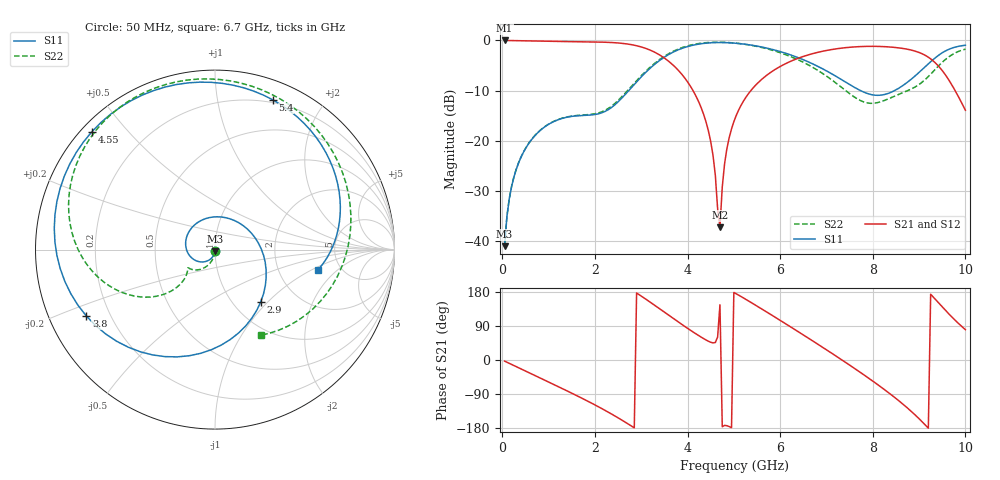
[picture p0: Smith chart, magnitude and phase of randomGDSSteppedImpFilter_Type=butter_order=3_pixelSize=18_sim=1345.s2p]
! freq	dB(S11)	phase(S11)	dB(S12)	phase(S12)
!  dB(S21)	phase(S21)	dB(S22)	phase(S22)
!S-par simulation data
#  GHz  S  DB  R 50
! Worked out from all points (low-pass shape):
!   200 points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, 50 MHz to 10 GHz, reference 50 ohm
!   highest |S21| = -0.01 dB at 50 MHz (marker M1); lowest = -37.2 dB at 4.7 GHz (marker M2)
!   |S21| within 3 dB of the highest: start of sweep to 3.419 GHz; 6.561 GHz to 9.14 GHz (2.579 GHz wide, 32.9 % of centre)
!   lowest |S11| = -40.9 dB at 50 MHz (marker M3), VSWR 1.02, Z = 50 - j0.897 ohm
!   |S11| at or under -10 dB: start of sweep to 2.728 GHz; 7.74 GHz to 8.466 GHz (726.1 MHz wide, 8.96 % of centre)
!   |S22| runs from -40.9 to -0.4 dB; largest |S21 - S12| = 0
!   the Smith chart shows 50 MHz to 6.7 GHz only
!   S11 on the Smith chart (normalised r, x): 50 MHz: 1.00, -0.02; 2.9 GHz: 1.33, -0.91; 3.8 GHz: 0.11, -0.24; 4.55 GHz: 0.03, +0.40; 5.4 GHz: 0.17, +1.44; 6.7 GHz: 3.40, -1.16
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0.05  -40.93 -92.1  -0.01 -3.0  -0.01 -3.0  -40.91 -90.4
0.2  -29.11 -104.8  -0.03 -11.7  -0.03 -11.7  -29.08 -98.2
0.5  -21.53 -127.9  -0.07 -29.1  -0.07 -29.1  -21.49 -111.1
1.75  -14.92 119.5  -0.27 -102.7  -0.27 -102.7  -14.83 -146.0
2.35  -13.40 32.2  -0.41 -141.9  -0.41 -141.9  -13.14 -137.6
2.9  -8.24 -48.8  -1.05 176.9  -1.05 176.9  -8.00 -140.1
3.4  -3.96 -109.4  -2.90 134.9  -2.90 134.9  -3.78 -164.0
3.8  -1.86 -152.8  -5.94 100.4  -5.94 100.4  -1.72 169.8
4.15  -0.88 172.5  -10.51 71.5  -10.51 71.5  -0.77 145.3
4.55  -0.45 136.3  -22.85 45.1  -22.85 45.1  -0.37 117.1
4.7  -0.42 123.5  -37.15 145.7  -37.15 145.7  -0.35 106.4
4.8  -0.43 115.2  -24.53 -172.5  -24.53 -172.5  -0.38 99.3
5.05  -0.57 95.3  -14.97 174.9  -14.97 174.9  -0.55 81.2
5.4  -0.97 68.9  -9.62 149.7  -9.62 149.7  -1.01 54.9
6  -2.21 28.1  -5.19 104.7  -5.19 104.7  -2.44 5.7
6.7  -4.65 -11.0  -2.63 50.6  -2.63 50.6  -5.34 -61.9
7.55  -9.05 -36.2  -1.33 -17.6  -1.33 -17.6  -10.92 -175.9
8.35  -10.48 -21.8  -1.29 -87.1  -1.29 -87.1  -11.57 25.4
8.95  -6.78 -16.2  -2.23 -149.1  -2.23 -149.1  -9.06 -102.9
9.35  -3.45 -27.1  -4.46 160.2  -4.46 160.2  -5.74 157.1
9.65  -1.74 -43.1  -7.99 120.6  -7.99 120.6  -3.22 91.5
10  -0.96 -62.3  -13.89 80.0  -13.89 80.0  -1.73 33.5
